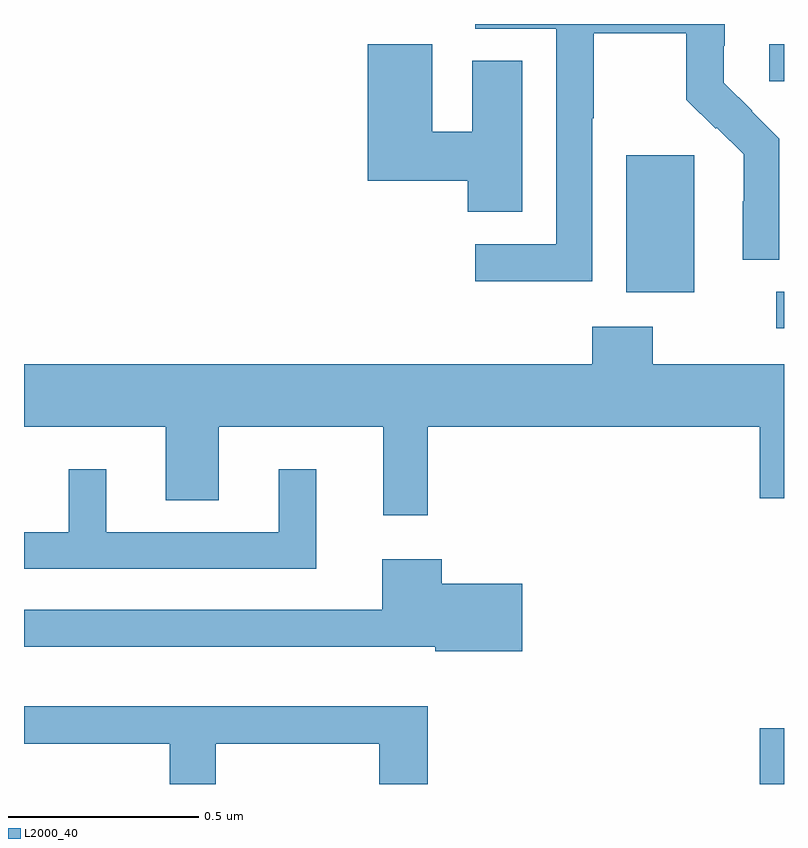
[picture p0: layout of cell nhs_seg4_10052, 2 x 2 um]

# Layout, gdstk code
import gdstk
lib = gdstk.Library(unit=1e-6, precision=1e-09)
def R(c, l, rs):  # rectangles x0, y0, x1, y1
    for r in rs: c.add(gdstk.rectangle(r[:2], r[2:], *l))
def P(c, l, *ps):  # polygons
    for p in ps: c.add(gdstk.Polygon(p, *l))
L2000_40 = (2000, 40)

nhs_seg4_10052 = lib.new_cell('nhs_seg4_10052')
R(nhs_seg4_10052, L2000_40, [(236.936,775.9,237,776.047), (236.979,777.099,237,777.195), (236.585,777.194,236.764,777.555), (236.961,777.75,237,777.847)])
P(nhs_seg4_10052, L2000_40, [(236.496,777.652),(236.499,777.652),(236.499,777.876),(236.743,777.876),(236.743,777.701),(236.82,777.624),(236.823,777.627),(236.894,777.557),(236.894,777.434),(236.892,777.434),(236.892,777.28),(236.988,777.28),(236.988,777.598),(236.915,777.671),(236.916,777.672),(236.842,777.746),(236.842,777.843),(236.844,777.843),(236.844,777.9),(236.187,777.9),(236.187,777.888),(236.4,777.888),(236.4,777.321),(236.187,777.321),(236.187,777.223),(236.496,777.223)],
  [(236.311,777.803),(236.18,777.803),(236.18,777.616),(236.074,777.616),(236.074,777.847),(235.904,777.847),(235.904,777.487),(236.168,777.487),(236.168,777.406),(236.311,777.406)],
  [(236.063,776.84),(236.936,776.84),(236.936,776.652),(237,776.652),(237,777.004),(236.655,777.004),(236.655,777.103),(236.495,777.103),(236.495,777.004),(235,777.004),(235,776.84),(235.373,776.84),(235.373,776.647),(235.513,776.647),(235.513,776.84),(235.946,776.84),(235.946,776.607),(236.063,776.607)],
  [(235.769,776.728),(235.67,776.728),(235.67,776.562),(235.216,776.562),(235.216,776.728),(235.118,776.728),(235.118,776.562),(235,776.562),(235,776.466),(235.769,776.466)],
  [(236.311,776.427),(236.099,776.427),(236.099,776.491),(235.943,776.491),(235.943,776.358),(235,776.358),(235,776.261),(236.082,776.261),(236.082,776.249),(236.311,776.249)],
  [(235.504,776.006),(235.935,776.006),(235.935,775.9),(236.063,775.9),(236.063,776.104),(235,776.104),(235,776.006),(235.383,776.006),(235.383,775.9),(235.504,775.9)])

lib.write_gds('nhs_seg4_10052.gds')
